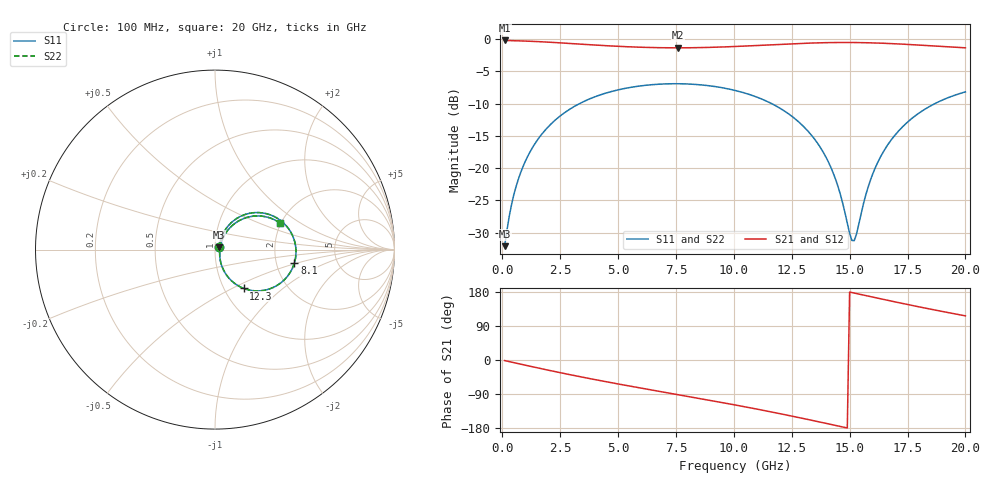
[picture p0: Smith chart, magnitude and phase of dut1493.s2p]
! Touchstone file exported from HFSS 2026.1.0
!  File:  C:/ffzhzh/LocalFiles/Ansys_Project_Files/temp_train_TSV_RDL_1493_1783364381_50076.aedt
!  Generated:  03:11:03 AM Jul  7, 2026
!  Design:  TSV_RDL
!  Project:  temp_train_TSV_RDL_1493_1783364381_50076
! Variables:
!  h_bsmrdl = 5.35um
!  h_ox = 20um
!  h_rdl = 5um
!  h_sub = 89.45um
!  h_tmrdl = 2.02um
!  h_tsv = 89.45um
!  h_via = 3um
!  l_bsmrdl = 893.06um
!  l_sub = 3961.89um
!  l_tmrdl = 188.84um
!  m_sub = 200um
!  pitch = 35.25um
!  r_tsv = 3.82um
!  s_tmrdl = 10um
!  w_bsmrdl = 16.28um
!  w_sub = 500um
!  w_tmrdl = 26.17um
!  x_tsv_center1 = 201.925um
!  x_tsv_center2 = 1111.265um
!  x_tsv_center3 = 1326.275um
!  x_tsv_center4 = 2235.615um
!  x_tsv_center5 = 2450.625um
!  x_tsv_center6 = 3359.965um
# GHz S MA R 50.000000
! Terminal data exported
! Port[1] = TM_RDL1_1_T1
! Port[2] = TM_RDL5_1_T1
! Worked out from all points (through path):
!   200 points, 100 MHz to 20 GHz, reference 50 ohm
!   highest |S21| = -0.19 dB at 100 MHz (marker M1); lowest = -1.3 dB at 7.6 GHz (marker M2)
!   group delay of S21, straight-line fit = 33.3 ps
!   lowest |S11| = -32.1 dB at 100 MHz (marker M3), VSWR 1.05, Z = 52.2 + j1.23 ohm
!   |S11| at or under -10 dB: start of sweep to 3.329 GHz; 11.64 GHz to 18.68 GHz (7.037 GHz wide, 46.4 % of centre)
!   |S22| runs from -32.1 to -6.9 dB; largest |S21 - S12| = 1.6e-14
!   S11 on the Smith chart (normalised r, x): 100 MHz: 1.04, +0.02; 8.1 GHz: 2.53, -0.46; 12.3 GHz: 1.23, -0.57; 20 GHz: 1.97, +0.69
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0.1  0.02483 28.3  0.9784 -1.4  0.9784 -1.4  0.02483 28.3
! Gamma 0 0 0 0
! Port Impedance 50 0 50 0
0.3  0.04237 52.7  0.9762 -4.3  0.9762 -4.3  0.04236 52.7
0.5  0.06236 60.0  0.9739 -7.0  0.9739 -7.0  0.06236 60.0
1.2  0.134 62.1  0.9646 -16.5  0.9646 -16.5  0.134 62.1
2.2  0.2286 53.1  0.9446 -29.6  0.9446 -29.6  0.2286 53.1
3.5  0.3276 38.8  0.9131 -45.8  0.9131 -45.8  0.3276 38.9
5.1  0.4086 21.5  0.8793 -64.3  0.8793 -64.3  0.4085 21.5
6.8  0.4483 3.9  0.8598 -83.0  0.8598 -83.0  0.4483 3.9
7.6  0.4516 -4.3  0.8578 -91.6  0.8578 -91.6  0.4516 -4.3
8.1  0.4488 -9.4  0.8588 -97.0  0.8588 -97.0  0.4488 -9.4
10.1  0.3989 -30.1  0.8791 -119.1  0.8791 -119.1  0.3989 -30.1
12.3  0.2688 -53.5  0.9181 -145.5  0.9181 -145.5  0.2688 -53.5
13.4  0.1758 -64.1  0.9348 -159.5  0.9348 -159.5  0.1758 -64.1
14.3  0.09089 -67.1  0.9425 -171.4  0.9425 -171.4  0.09088 -67.1
14.6  0.06261 -62.7  0.9435 -175.4  0.9435 -175.4  0.0626 -62.7
15.1  0.0275 -15.9  0.9432 177.9  0.9432 177.9  0.02742 -15.9
15.3  0.03095 22.1  0.9425 175.2  0.9425 175.2  0.03086 22.2
15.7  0.06218 51.9  0.9397 169.9  0.9397 169.9  0.06211 52.0
16  0.09037 56.4  0.9367 165.9  0.9367 165.9  0.09031 56.5
16.7  0.1567 55.0  0.9268 156.7  0.9268 156.7  0.1566 55.1
18.1  0.2754 42.2  0.8987 139.0  0.8987 139.0  0.2753 42.3
20  0.3905 22.4  0.8578 116.5  0.8578 116.5  0.3904 22.4
